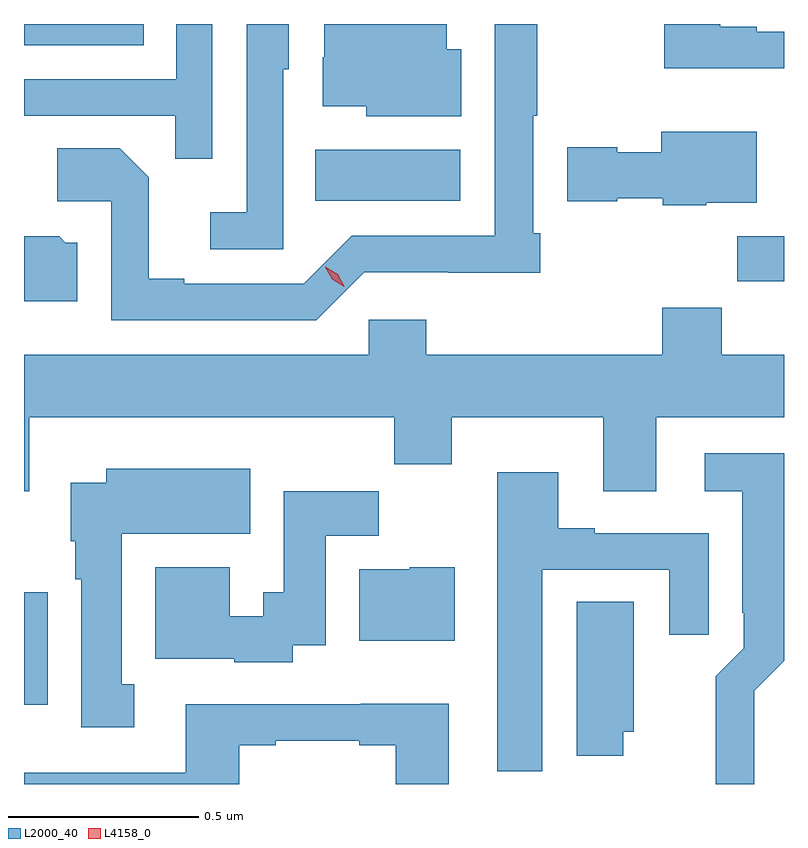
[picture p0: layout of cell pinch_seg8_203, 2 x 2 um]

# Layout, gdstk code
import gdstk
lib = gdstk.Library(unit=1e-6, precision=1e-09)
def R(c, l, rs):  # rectangles x0, y0, x1, y1
    for r in rs: c.add(gdstk.rectangle(r[:2], r[2:], *l))
def P(c, l, *ps):  # polygons
    for p in ps: c.add(gdstk.Polygon(p, *l))
L2000_40 = (2000, 40)
L4158_0 = (4158, 0)

pinch_seg8_203 = lib.new_cell('pinch_seg8_203')
R(pinch_seg8_203, L2000_40, [(627.443,1159.7,627.505,1159.996), (629.32,1160.814,629.443,1160.932), (628.21,1161.026,628.591,1161.16), (627.443,1161.435,627.758,1161.491)])
P(pinch_seg8_203, L2000_40, [(629.367,1161.375),(629.443,1161.375),(629.443,1161.471),(629.371,1161.471),(629.371,1161.484),(629.275,1161.484),(629.275,1161.491),(629.128,1161.491),(629.128,1161.374),(629.367,1161.374)],
  [(628.338,1160.838),(628.56,1160.838),(628.56,1160.837),(628.801,1160.837),(628.801,1160.941),(628.783,1160.941),(628.783,1161.25),(628.793,1161.25),(628.793,1161.491),(628.682,1161.491),(628.682,1160.934),(628.305,1160.934),(628.179,1160.808),(627.865,1160.808),(627.865,1160.821),(627.771,1160.821),(627.771,1161.088),(627.695,1161.164),(627.531,1161.164),(627.531,1161.024),(627.672,1161.024),(627.672,1160.712),(628.212,1160.712)],
  [(628.594,1161.424),(628.555,1161.424),(628.555,1161.491),(628.233,1161.491),(628.233,1161.404),(628.229,1161.404),(628.229,1161.275),(628.344,1161.275),(628.344,1161.248),(628.594,1161.248)],
  [(627.939,1161.491),(627.843,1161.491),(627.843,1161.345),(627.443,1161.345),(627.443,1161.249),(627.841,1161.249),(627.841,1161.136),(627.939,1161.136)],
  [(628.125,1161.372),(628.14,1161.372),(628.14,1161.491),(628.029,1161.491),(628.029,1160.995),(627.933,1160.995),(627.933,1160.898),(628.125,1160.898)],
  [(629.238,1161.02),(629.371,1161.02),(629.371,1161.208),(629.12,1161.208),(629.12,1161.154),(629.004,1161.154),(629.004,1161.167),(628.872,1161.167),(628.872,1161.025),(629.004,1161.025),(629.004,1161.032),(629.124,1161.032),(629.124,1161.014),(629.238,1161.014)],
  [(627.583,1160.916),(627.552,1160.916),(627.536,1160.932),(627.443,1160.932),(627.443,1160.762),(627.583,1160.762)],
  [(627.457,1160.456),(628.417,1160.456),(628.417,1160.332),(628.569,1160.332),(628.569,1160.456),(628.967,1160.456),(628.967,1160.262),(629.107,1160.262),(629.107,1160.456),(629.443,1160.456),(629.443,1160.62),(629.279,1160.62),(629.279,1160.744),(629.123,1160.744),(629.123,1160.62),(628.502,1160.62),(628.502,1160.713),(628.35,1160.713),(628.35,1160.62),(627.443,1160.62),(627.443,1160.262),(627.457,1160.262)],
  [(629.365,1159.736),(629.443,1159.815),(629.443,1160.362),(629.235,1160.362),(629.235,1160.261),(629.333,1160.261),(629.333,1159.942),(629.337,1159.942),(629.337,1159.848),(629.263,1159.774),(629.263,1159.491),(629.365,1159.491)],
  [(627.733,1159.754),(627.7,1159.754),(627.7,1160.15),(628.039,1160.15),(628.039,1160.32),(627.659,1160.32),(627.659,1160.284),(627.566,1160.284),(627.566,1160.13),(627.578,1160.13),(627.578,1160.03),(627.593,1160.03),(627.593,1159.641),(627.733,1159.641)],
  [(628.807,1160.055),(629.141,1160.055),(629.141,1159.884),(629.245,1159.884),(629.245,1160.151),(628.945,1160.151),(628.945,1160.164),(628.849,1160.164),(628.849,1160.311),(628.688,1160.311),(628.688,1159.524),(628.807,1159.524)],
  [(628.15,1159.856),(628.237,1159.856),(628.237,1160.144),(628.376,1160.144),(628.376,1160.262),(628.127,1160.262),(628.127,1159.996),(628.073,1159.996),(628.073,1159.933),(627.985,1159.933),(627.985,1160.062),(627.788,1160.062),(627.788,1159.82),(627.996,1159.82),(627.996,1159.811),(628.15,1159.811)],
  [(628.576,1160.062),(628.458,1160.062),(628.458,1160.056),(628.325,1160.056),(628.325,1159.868),(628.576,1159.868)],
  [(629.02,1159.629),(629.047,1159.629),(629.047,1159.97),(628.898,1159.97),(628.898,1159.565),(629.02,1159.565)],
  [(628.009,1159.593),(628.105,1159.593),(628.105,1159.605),(628.325,1159.605),(628.325,1159.593),(628.421,1159.593),(628.421,1159.491),(628.561,1159.491),(628.561,1159.702),(628.329,1159.702),(628.329,1159.701),(627.869,1159.701),(627.869,1159.521),(627.443,1159.521),(627.443,1159.491),(628.009,1159.491)])
P(pinch_seg8_203, L4158_0, [(628.286,1160.8),(628.254,1160.819),(628.236,1160.851),(628.236,1160.852),(628.236,1160.852),(628.268,1160.833),(628.286,1160.801),(628.286,1160.8)])

lib.write_gds('pinch_seg8_203.gds')
